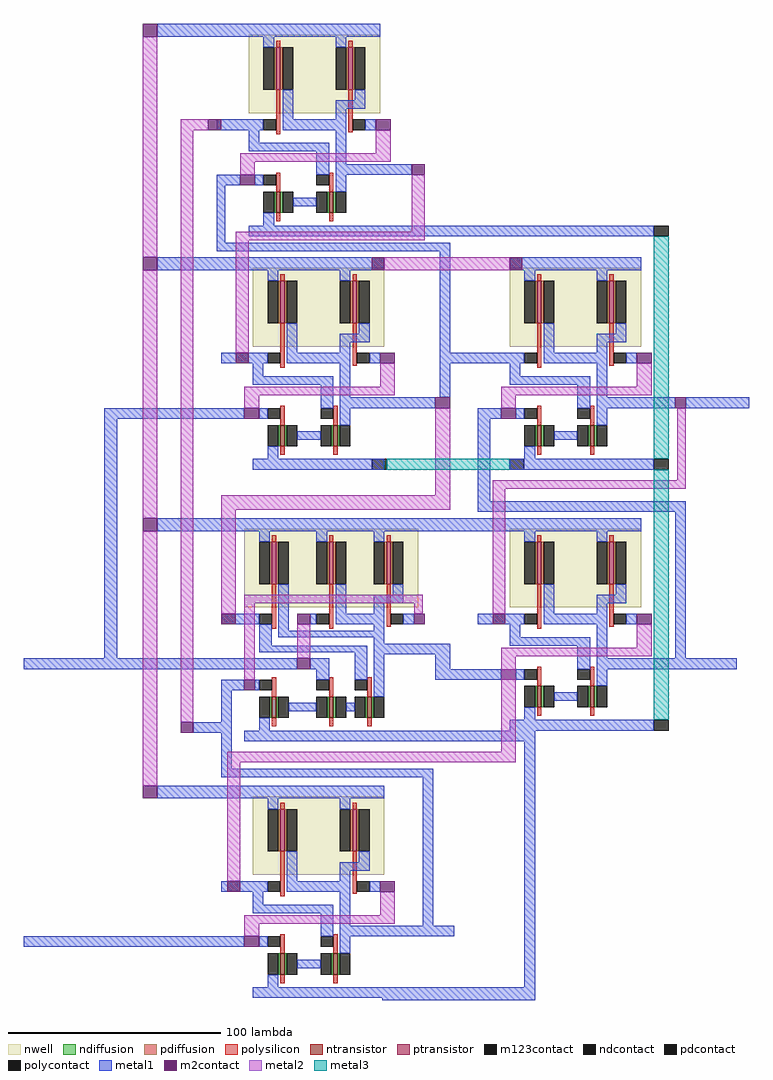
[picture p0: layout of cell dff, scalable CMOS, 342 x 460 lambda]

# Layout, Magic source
magic
tech scmos
<< metal1 >>
rect -151 204 -102 210
rect -121 160 -117 165
rect -67 139 -31 144
rect -123 107 -119 139
rect -48 110 83 115
rect -123 103 -13 107
rect -151 94 -102 100
rect -18 55 -13 103
rect -18 50 17 55
rect -18 34 -13 50
rect -65 29 -20 34
rect 88 29 93 34
rect 98 29 128 34
rect -176 24 -112 29
rect -176 -89 -170 24
rect 0 -15 6 29
rect 77 0 83 5
rect 0 -20 98 -15
rect -151 -29 -102 -23
rect -29 -29 29 -23
rect -49 -87 -13 -82
rect -214 -94 -115 -89
rect -20 -94 -13 -87
rect 93 -89 98 -20
rect 88 -94 122 -89
rect -20 -99 10 -94
rect -121 -119 -116 -99
rect -134 -124 -116 -119
rect 22 -123 27 -118
rect 75 -123 83 -118
rect -121 -141 -116 -124
rect -31 -128 27 -123
rect -121 -145 -21 -141
rect -151 -155 -102 -149
rect -26 -215 -21 -145
rect -65 -220 -11 -215
rect -214 -225 -110 -220
rect 22 -244 27 -128
rect -45 -250 27 -244
<< m2contact >>
rect -158 204 -151 210
rect -127 160 -121 165
rect -31 139 -25 144
rect -158 94 -151 100
rect -50 94 -44 100
rect 15 94 21 100
rect -114 50 -108 55
rect -20 29 -13 34
rect 93 29 98 34
rect -158 -29 -151 -23
rect -121 -73 -114 -68
rect 7 -73 13 -68
rect -140 -124 -134 -119
rect -158 -155 -151 -149
rect -118 -199 -112 -194
<< metal2 >>
rect -158 100 -151 204
rect -158 -23 -151 94
rect -158 -149 -151 -29
rect -140 160 -127 165
rect -140 -119 -134 160
rect -31 112 -25 139
rect -114 108 -25 112
rect -114 55 -108 108
rect -44 94 15 100
rect -20 -12 -13 29
rect 94 -5 98 29
rect -121 -19 -13 -12
rect 7 -9 98 -5
rect -121 -68 -114 -19
rect 7 -68 13 -9
rect 11 -133 18 -94
rect -118 -138 18 -133
rect -118 -194 -112 -138
<< m123contact >>
rect 83 110 90 115
rect -50 0 -43 5
rect 15 0 22 5
rect 83 0 90 5
rect 83 -123 90 -118
<< metal3 >>
rect 83 5 90 110
rect -43 0 15 5
rect 83 -118 90 0
use nandgate  nandgate_4
transform 1 0 -230 0 1 76
box 107 34 197 134
use nandgate  nandgate_3
transform 1 0 -228 0 1 -34
box 107 34 197 134
use nandgate  nandgate_0
transform 1 0 -107 0 1 -34
box 107 34 197 134
use nand3  nand3_0
transform 1 0 -174 0 1 -126
box 53 -2 152 103
use nandgate  nandgate_1
transform 1 0 -107 0 1 -157
box 107 34 197 134
use nandgate  nandgate_2
transform 1 0 -228 0 1 -283
box 107 34 197 134
<< end >>

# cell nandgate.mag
magic
tech scmos
<< nwell >>
rect 122 92 184 129
<< ntransistor >>
rect 135 45 137 55
rect 160 45 162 55
<< ptransistor >>
rect 135 103 137 123
rect 169 103 171 123
<< ndiffusion >>
rect 134 45 135 55
rect 137 45 138 55
rect 159 45 160 55
rect 162 45 163 55
<< pdiffusion >>
rect 134 103 135 123
rect 137 103 138 123
rect 168 103 169 123
rect 171 103 172 123
<< ndcontact >>
rect 129 45 134 55
rect 138 45 143 55
rect 154 45 159 55
rect 163 45 168 55
<< pdcontact >>
rect 129 103 134 123
rect 138 103 143 123
rect 163 103 168 123
rect 172 103 177 123
<< polysilicon >>
rect 135 123 137 126
rect 169 123 171 126
rect 135 82 137 103
rect 169 83 171 103
rect 135 55 137 64
rect 160 55 162 64
rect 135 41 137 45
rect 160 41 162 45
<< polycontact >>
rect 129 84 135 89
rect 171 84 177 89
rect 129 58 135 63
rect 154 58 160 63
<< metal1 >>
rect 122 128 184 134
rect 129 123 134 128
rect 163 123 168 128
rect 138 89 143 103
rect 172 98 177 103
rect 163 94 177 98
rect 163 89 168 94
rect 107 84 129 89
rect 138 84 168 89
rect 177 84 182 89
rect 122 78 127 84
rect 122 74 160 78
rect 154 63 160 74
rect 107 58 118 63
rect 125 58 129 63
rect 163 68 168 84
rect 163 63 197 68
rect 163 55 168 63
rect 143 48 154 52
rect 129 39 134 45
rect 122 34 184 39
<< m2contact >>
rect 182 84 189 89
rect 118 58 125 63
<< metal2 >>
rect 182 73 189 84
rect 118 69 189 73
rect 118 63 125 69
<< end >>

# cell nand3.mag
magic
tech scmos
<< nwell >>
rect 64 61 146 98
<< ntransistor >>
rect 77 9 79 19
rect 104 9 106 19
rect 122 9 124 19
<< ptransistor >>
rect 77 72 79 92
rect 104 72 106 92
rect 131 72 133 92
<< ndiffusion >>
rect 76 9 77 19
rect 79 9 80 19
rect 103 9 104 19
rect 106 9 107 19
rect 121 9 122 19
rect 124 9 125 19
<< pdiffusion >>
rect 76 72 77 92
rect 79 72 80 92
rect 103 72 104 92
rect 106 72 107 92
rect 130 72 131 92
rect 133 72 134 92
<< ndcontact >>
rect 71 9 76 19
rect 80 9 85 19
rect 98 9 103 19
rect 107 9 112 19
rect 116 9 121 19
rect 125 9 130 19
<< pdcontact >>
rect 71 72 76 92
rect 80 72 85 92
rect 98 72 103 92
rect 107 72 112 92
rect 125 72 130 92
rect 134 72 139 92
<< polysilicon >>
rect 77 92 79 95
rect 104 92 106 95
rect 131 92 133 95
rect 77 51 79 72
rect 104 51 106 72
rect 131 52 133 72
rect 77 19 79 28
rect 104 19 106 28
rect 122 19 124 28
rect 77 5 79 9
rect 104 5 106 9
rect 122 5 124 9
<< polycontact >>
rect 71 53 77 58
rect 98 53 104 58
rect 133 53 139 58
rect 71 22 77 27
rect 98 22 104 27
rect 116 22 122 27
<< metal1 >>
rect 64 97 146 103
rect 71 92 76 97
rect 98 92 103 97
rect 125 92 130 97
rect 53 53 71 58
rect 71 43 77 53
rect 80 50 85 72
rect 107 58 112 72
rect 134 67 139 72
rect 125 63 139 67
rect 125 58 130 63
rect 95 53 98 58
rect 107 53 130 58
rect 139 53 144 58
rect 125 50 130 53
rect 80 47 130 50
rect 125 44 130 47
rect 71 40 122 43
rect 53 32 89 37
rect 95 32 104 37
rect 98 27 104 32
rect 53 22 64 27
rect 69 22 71 27
rect 116 27 122 40
rect 125 39 152 44
rect 125 19 130 39
rect 85 12 98 16
rect 112 12 116 16
rect 71 3 76 9
rect 64 -2 146 3
<< m2contact >>
rect 89 53 95 58
rect 144 53 149 58
rect 89 32 95 37
rect 64 22 69 27
<< metal2 >>
rect 64 63 148 67
rect 64 27 69 63
rect 144 58 148 63
rect 89 37 95 53
<< end >>
